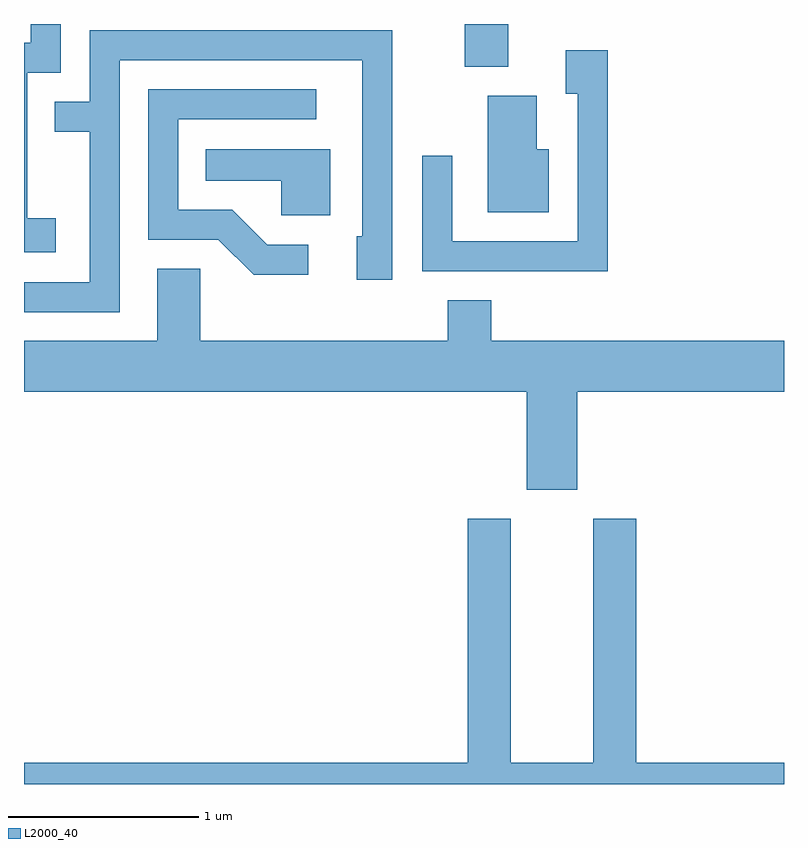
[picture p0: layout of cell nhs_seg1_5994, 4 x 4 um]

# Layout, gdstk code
import gdstk
lib = gdstk.Library(unit=1e-6, precision=1e-09)
def R(c, l, rs):  # rectangles x0, y0, x1, y1
    for r in rs: c.add(gdstk.rectangle(r[:2], r[2:], *l))
def P(c, l, *ps):  # polygons
    for p in ps: c.add(gdstk.Polygon(p, *l))
L2000_40 = (2000, 40)

nhs_seg1_5994 = lib.new_cell('nhs_seg1_5994')
R(nhs_seg1_5994, L2000_40, [(367.931,923.486,368.159,923.712)])
P(nhs_seg1_5994, L2000_40, [(365.779,922.689),(365.629,922.689),(365.629,923.456),(365.804,923.456),(365.804,923.712),(365.646,923.712),(365.646,923.614),(365.611,923.614),(365.611,922.511),(365.779,922.511)],
  [(366.114,923.521),(367.391,923.521),(367.391,922.594),(367.361,922.594),(367.361,922.366),(367.549,922.366),(367.549,923.679),(365.956,923.679),(365.956,923.304),(365.773,923.304),(365.773,923.146),(365.956,923.146),(365.956,922.354),(365.611,922.354),(365.611,922.196),(366.114,922.196)],
  [(368.684,923.574),(368.461,923.574),(368.461,923.346),(368.526,923.346),(368.526,922.569),(367.864,922.569),(367.864,923.018),(367.706,923.018),(367.706,922.411),(368.684,922.411)],
  [(367.108,922.549),(366.892,922.549),(366.707,922.734),(366.424,922.734),(366.424,923.211),(367.148,923.211),(367.148,923.369),(366.266,923.369),(366.266,922.576),(366.634,922.576),(366.819,922.391),(367.108,922.391)],
  [(368.374,923.054),(368.309,923.054),(368.309,923.334),(368.051,923.334),(368.051,922.721),(368.374,922.721)],
  [(367.224,923.054),(366.568,923.054),(366.568,922.886),(366.966,922.886),(366.966,922.706),(367.224,922.706)],
  [(368.524,921.776),(369.611,921.776),(369.611,922.044),(368.069,922.044),(368.069,922.259),(367.841,922.259),(367.841,922.044),(366.539,922.044),(366.539,922.424),(366.311,922.424),(366.311,922.044),(365.611,922.044),(365.611,921.776),(368.256,921.776),(368.256,921.261),(368.524,921.261)],
  [(368.834,921.109),(368.606,921.109),(368.606,919.824),(368.174,919.824),(368.174,921.109),(367.946,921.109),(367.946,919.824),(365.611,919.824),(365.611,919.712),(369.611,919.712),(369.611,919.824),(368.834,919.824)])

lib.write_gds('nhs_seg1_5994.gds')
